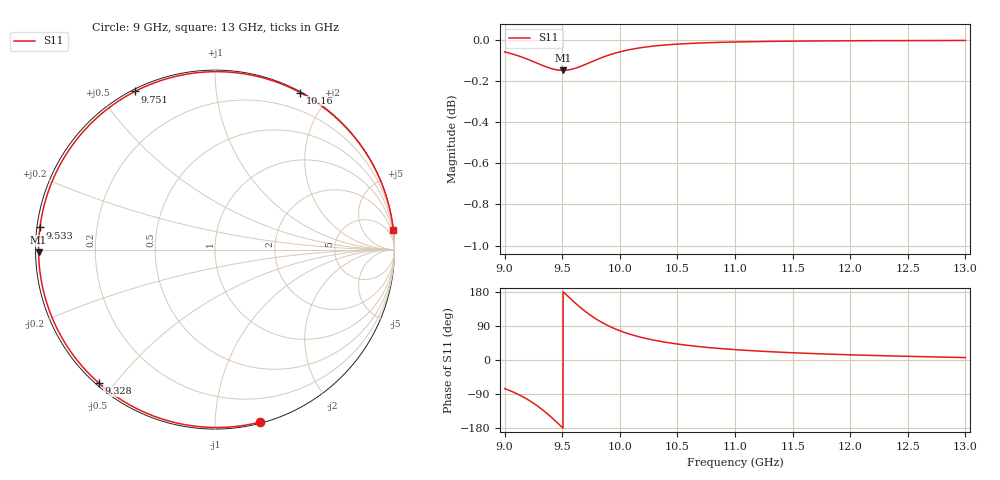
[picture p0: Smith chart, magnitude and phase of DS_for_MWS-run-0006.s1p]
! TOUCHSTONE file generated by CST DESIGN STUDIO
! Date and time: Tue Feb  4 17:19:15 2025
! Project name: C:\Work\MatlabApps\UnitCellOptimizationMatlab\CST\unitcell.cst
! Tree item: Tasks\Sweep1\SPara1\S-Parameters
! Header version: 2024
! Port assignment regex: !\s*Touchstone port\s*([0-9]+)\s*=\s*(CST MWS port|CST DES external port|CST DES block port)\s*(.+)\s* \(\"(.*)\"\)(\s*mode\s*([0-9]+))?.*
! Touchstone port assignment:
! Touchstone port 1 = CST DES external port 1 ("")
# GHz S MA R 50
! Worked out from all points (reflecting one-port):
!   4001 points, 9 GHz to 13 GHz, reference 50 ohm
!   lowest |S11| = -0.1 dB at 9.505 GHz (marker M1), VSWR 117.00, Z = 0.427 - j0.371 ohm
!   phase of S11 starts at -75 deg and turns -278 deg over the sweep
!   S11 on the Smith chart (normalised r, x): 9 GHz: 0.01, -1.29; 9.328 GHz: 0.01, -0.45; 9.533 GHz: 0.01, +0.06; 9.751 GHz: 0.01, +0.61; 10.16 GHz: 0.01, +1.68; 13 GHz: 0, +18
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9  0.9933 -75.5
9.087  0.9917 -86.2
9.189  0.9894 -102.2
9.261  0.9876 -116.1
9.328  0.9858 -131.2
9.374  0.9847 -142.7
9.422  0.9837 -155.5
9.462  0.9832 -166.8
9.5  0.9831 -177.7
9.505  0.9831 -179.1
9.533  0.9831 172.8
9.587  0.9837 157.5
9.647  0.9849 141.3
9.698  0.9862 128.7
9.751  0.9877 116.9
9.803  0.9891 106.5
9.859  0.9905 96.7
10  0.9933 77.2
10.079  0.9944 68.9
10.164  0.9954 61.5
10.317  0.9967 51.1
10.5  0.9976 42.1
10.722  0.9983 34.3
11  0.9988 27.3
11.5  0.9993 19.1
12  0.9995 13.7
12.5  0.9996 9.7
13  0.9996 6.4
